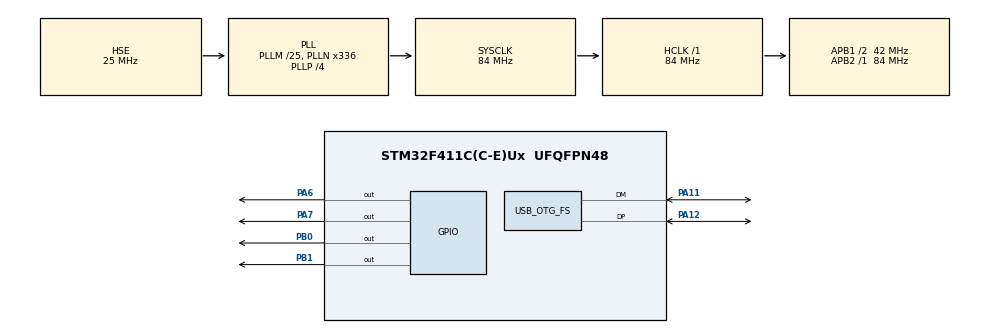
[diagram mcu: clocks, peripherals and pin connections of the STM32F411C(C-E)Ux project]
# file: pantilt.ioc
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Mcu.Family=STM32F4
Mcu.Name=STM32F411C(C-E)Ux
Mcu.Package=UFQFPN48
NVIC.OTG_FS_IRQn=true\:0\:0\:false\:false\:true\:false\:true\:true
NVIC.PriorityGroup=NVIC_PRIORITYGROUP_4
NVIC.TIM3_IRQn=true\:0\:0\:false\:false\:true\:true\:true\:true
PA11.Mode=Device_Only
PA11.Signal=USB_OTG_FS_DM
PA12.Mode=Device_Only
PA12.Signal=USB_OTG_FS_DP
PA6.GPIO_Speed=GPIO_SPEED_FREQ_VERY_HIGH
PA6.Signal=GPIO_Output
PA7.GPIO_Speed=GPIO_SPEED_FREQ_VERY_HIGH
PA7.Signal=GPIO_Output
PB0.GPIO_Speed=GPIO_SPEED_FREQ_VERY_HIGH
PB0.Signal=GPIO_Output
PB1.GPIO_Speed=GPIO_SPEED_FREQ_VERY_HIGH
PB1.Signal=GPIO_Output
PH0\ -\ OSC_IN.Mode=HSE-External-Oscillator
PH0\ -\ OSC_IN.Signal=RCC_OSC_IN
PH1\ -\ OSC_OUT.Mode=HSE-External-Oscillator
PH1\ -\ OSC_OUT.Signal=RCC_OSC_OUT
ProjectManager.HeapSize=0x200
ProjectManager.StackSize=0x400
ProjectManager.TargetToolchain=STM32CubeIDE
RCC.48MHZClocksFreq_Value=48000000
RCC.AHBFreq_Value=84000000
RCC.APB1CLKDivider=RCC_HCLK_DIV2
RCC.APB1Freq_Value=42000000
RCC.APB1TimFreq_Value=84000000
RCC.APB2Freq_Value=84000000
RCC.APB2TimFreq_Value=84000000
RCC.CortexFreq_Value=84000000
RCC.HCLKFreq_Value=84000000
RCC.HSE_VALUE=25000000
RCC.HSI_VALUE=16000000
RCC.LSE_VALUE=32768
RCC.PLLM=25
RCC.PLLN=336
RCC.PLLP=RCC_PLLP_DIV4
RCC.PLLQ=7
RCC.SYSCLKFreq_VALUE=84000000
RCC.SYSCLKSource=RCC_SYSCLKSOURCE_PLLCLK
RCC.VCOOutputFreq_Value=336000000
TIM3.Period=9
TIM3.Prescaler=83
USB_DEVICE.CLASS_NAME_FS=CDC
USB_DEVICE.VirtualMode=Cdc
USB_DEVICE.VirtualModeFS=Cdc_FS
USB_OTG_FS.VirtualMode=Device_Only
VP_TIM3_VS_ClockSourceINT.Mode=Internal
VP_USB_DEVICE_VS_USB_DEVICE_CDC_FS.Mode=CDC_FS
board=custom

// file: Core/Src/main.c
/* USER CODE BEGIN Header */
/**
  ******************************************************************************
  * @file           : main.c
  * @brief          : Stepper pan-tilt controller with Watchdog
  ******************************************************************************
  */
/* USER CODE END Header */

#include "main.h"
#include "usb_device.h"
#include "usbd_cdc_if.h"
#include "iwdg.h"               // <-- Tambahan untuk IWDG

/* USER CODE BEGIN Includes */
#include <string.h>
#include <stdlib.h>
/* USER CODE END Includes */

/* USER CODE BEGIN PD */
#define STEP_FREQ         100000  // TIM3 ISR rate (Hz)
#define MAX_VEL           20000    // Max velocity (steps/s)
#define VEL_UPDATE_TICKS  10      // 100kHz / 10 = 10kHz velocity update
#define DIR_SETUP_TICKS   5       // 10µs ticks to wait after DIR change (50µs)
#define SERIAL_BUF_SIZE   256

/* Watchdog timeout = (4*2^IWDG_PRESCALER / LSI) * IWDG_RELOAD
   LSI ~ 32000 Hz, Prescaler 256 => tick 125 Hz.
   Reload = 62 => timeout ≈ 496 ms */
#define IWDG_TIMEOUT_MS   500
/* USER CODE END PD */

TIM_HandleTypeDef htim3;      // Step generation timebase
IWDG_HandleTypeDef hiwdg;     // Watchdog handler

/* USER CODE BEGIN PV */
// Step generation (ISR context)
volatile uint32_t pan_period   = 0;
volatile uint32_t pan_counter  = 0;
volatile uint32_t tilt_period  = 0;
volatile uint32_t tilt_counter = 0;

// Velocity (current: written by ISR, read by main; requested: written by main, read by ISR)
volatile int32_t req_vel_pan      = 0;
volatile int32_t req_vel_tilt     = 0;
volatile int32_t current_vel_pan  = 0;
volatile int32_t current_vel_tilt = 0;

// Direction invert (written by main, read by ISR)
volatile int8_t pan_dir_invert   = 0;
volatile int8_t tilt_dir_invert  = 1;

// Serial circular buffer
volatile uint8_t  serial_rx_buf[SERIAL_BUF_SIZE];
volatile uint16_t serial_rx_head = 0;
volatile uint16_t serial_rx_tail = 0;

// Command parsing buffer
char    cmd_buffer[64];
uint8_t cmd_idx = 0;
/* USER CODE END PV */

void SystemClock_Config(void);
static void MX_GPIO_Init(void);
static void MX_TIM3_Init(void);
static void MX_IWDG_Init(void);   // <-- Prototipe IWDG
/* USER CODE BEGIN PFP */
void step_isr(void);             // called from TIM3_IRQHandler
void process_command(char *cmd);
void CDC_Receive_Handler(uint8_t* Buf, uint32_t Len);
void process_serial_data(void);
/* USER CODE END PFP */

/* USER CODE BEGIN 0 */

/*
 * Called from TIM3_IRQHandler every 10µs (100kHz).
 * Generates step pulses and directly applies the requested velocity (no ramp).
 *
 * Pin mapping:
 *   PB0 = pan step,  PB1 = pan dir
 *   PA6 = tilt step, PA7 = tilt dir
 */
void step_isr(void) {
    /* ---- Pan step pulse ---- */
    static uint8_t pan_dir_hold = 0;
    if (pan_dir_hold > 0) {
        pan_dir_hold--;
        GPIOB->BSRR = (uint32_t)GPIO_PIN_0 << 16;           // STEP LOW
    } else if (pan_period > 0) {
        if (pan_counter == 0)
            GPIOB->BSRR = GPIO_PIN_0;                        // STEP HIGH
        else if (pan_counter == 1)
            GPIOB->BSRR = (uint32_t)GPIO_PIN_0 << 16;       // STEP LOW
        if (++pan_counter >= pan_period) pan_counter = 0;
    }

    /* ---- Tilt step pulse ---- */
    static uint8_t tilt_dir_hold = 0;
    if (tilt_dir_hold > 0) {
        tilt_dir_hold--;
        GPIOA->BSRR = (uint32_t)GPIO_PIN_6 << 16;           // STEP LOW
    } else if (tilt_period > 0) {
        if (tilt_counter == 0)
            GPIOA->BSRR = GPIO_PIN_6;                        // STEP HIGH
        else if (tilt_counter == 1)
            GPIOA->BSRR = (uint32_t)GPIO_PIN_6 << 16;       // STEP LOW
        if (++tilt_counter >= tilt_period) tilt_counter = 0;
    }

    /* ---- 10kHz velocity update (every 10 ticks) ---- */
    static uint16_t update_tick = 0;
    if (++update_tick < VEL_UPDATE_TICKS) return;
    update_tick = 0;

    /* -- Pan direct velocity apply -- */
    {
        static uint8_t pan_dir_state = 0;
        int32_t next = req_vel_pan;
        if (next > MAX_VEL)  next = MAX_VEL;
        if (next < -MAX_VEL) next = -MAX_VEL;

        if (next != current_vel_pan) {
            current_vel_pan = next;
            if (next == 0) {
                pan_period = 0;
                pan_counter = 0;
                GPIOB->BSRR = (uint32_t)GPIO_PIN_0 << 16;   // step LOW
            } else {
                uint8_t dir = ((next > 0) ^ pan_dir_invert) ? 1U : 0U;
                if (dir)
                    GPIOB->BSRR = GPIO_PIN_1;                // DIR HIGH
                else
                    GPIOB->BSRR = (uint32_t)GPIO_PIN_1 << 16;// DIR LOW
                if (dir != pan_dir_state) {
                    pan_dir_state = dir;
                    GPIOB->BSRR = (uint32_t)GPIO_PIN_0 << 16; // step LOW
                    pan_counter = 0;
                    pan_dir_hold = DIR_SETUP_TICKS;
                }
                uint32_t abs_v = (next > 0) ? (uint32_t)next : (uint32_t)(-next);
                uint32_t p = (STEP_FREQ + (abs_v / 2U)) / abs_v;
                if (p < 2) p = 2;
                pan_period = p;
                if (pan_counter >= p) pan_counter = 0;
            }
        }
    }

    /* -- Tilt direct velocity apply -- */
    {
        static uint8_t tilt_dir_state = 0;
        int32_t next = req_vel_tilt;
        if (next > MAX_VEL)  next = MAX_VEL;
        if (next < -MAX_VEL) next = -MAX_VEL;

        if (next != current_vel_tilt) {
            current_vel_tilt = next;
            if (next == 0) {
                tilt_period = 0;
                tilt_counter = 0;
                GPIOA->BSRR = (uint32_t)GPIO_PIN_6 << 16;   // step LOW
            } else {
                uint8_t dir = ((next > 0) ^ tilt_dir_invert) ? 1U : 0U;
                if (dir)
                    GPIOA->BSRR = GPIO_PIN_7;                // DIR HIGH
                else
                    GPIOA->BSRR = (uint32_t)GPIO_PIN_7 << 16;// DIR LOW
                if (dir != tilt_dir_state) {
                    tilt_dir_state = dir;
                    GPIOA->BSRR = (uint32_t)GPIO_PIN_6 << 16; // step LOW
                    tilt_counter = 0;
                    tilt_dir_hold = DIR_SETUP_TICKS;
                }
                uint32_t abs_v = (next > 0) ? (uint32_t)next : (uint32_t)(-next);
                uint32_t p = (STEP_FREQ + (abs_v / 2U)) / abs_v;
                if (p < 2) p = 2;
                tilt_period = p;
                if (tilt_counter >= p) tilt_counter = 0;
            }
        }
    }
}

static int32_t clamp_vel(int32_t v) {
    if (v > MAX_VEL) return MAX_VEL;
    if (v < -MAX_VEL) return -MAX_VEL;
    return v;
}

static int parse_vel_token(const char *tok, int32_t *out, char *axis_out) {
    const char *p = tok;
    while (*p == ' ' || *p == '\t') p++;
    char axis = 0;
    if (*p == 'P' || *p == 'p' || *p == 'T' || *p == 't') {
        axis = *p;
        p++;
    }
    char *end = NULL;
    long v = strtol(p, &end, 10);
    if (end == p) return 0;
    *out = clamp_vel((int32_t)v);
    *axis_out = axis;
    return 1;
}

/* ---- Command parsing ---- */
void process_command(char *cmd) {
    if (cmd[0] == 'S' || cmd[0] == 's') {
        /* Hard stop: zero everything immediately */
        req_vel_pan  = 0; req_vel_tilt  = 0;
        current_vel_pan = 0; current_vel_tilt = 0;
        pan_period  = 0; tilt_period  = 0;
        GPIOB->BSRR = (uint32_t)GPIO_PIN_0 << 16;  // pan step LOW
        GPIOA->BSRR = (uint32_t)GPIO_PIN_6 << 16;  // tilt step LOW
        return;
    }

    if (strchr(cmd, ',') || cmd[0] == '+' || cmd[0] == '-' || (cmd[0] >= '0' && cmd[0] <= '9')) {
        int32_t pan_val = req_vel_pan;
        int32_t tilt_val = req_vel_tilt;
        uint8_t pan_set = 0;
        uint8_t tilt_set = 0;
        uint8_t next_axis = 0;

        char *tok = cmd;
        while (tok) {
            char *next = strchr(tok, ',');
            if (next) {
                *next = '\0';
                next++;
            }
            int32_t v = 0;
            char axis = 0;
            if (!parse_vel_token(tok, &v, &axis)) {
                return;
            }
            if (axis == 'P' || axis == 'p') {
                pan_val = v;
                pan_set = 1;
            } else if (axis == 'T' || axis == 't') {
                tilt_val = v;
                tilt_set = 1;
            } else {
                if (next_axis == 0) {
                    pan_val = v;
                    pan_set = 1;
                    next_axis = 1;
                } else {
                    tilt_val = v;
                    tilt_set = 1;
                }
            }
            tok = next;
        }

        if (pan_set) req_vel_pan = pan_val;
        if (tilt_set) req_vel_tilt = tilt_val;
        return;
    }

    if (cmd[0] == 'P' || cmd[0] == 'p') {
        if (cmd[1] == '+' || cmd[1] == '-') {
            int32_t vel = atoi(&cmd[2]);
            if (vel < 0) vel = 0;
            if (vel > MAX_VEL) vel = MAX_VEL;
            req_vel_pan = (cmd[1] == '-') ? -vel : vel;
        } else {
            req_vel_pan = 0;
        }
        return;
    }

    if (cmd[0] == 'T' || cmd[0] == 't') {
        if (cmd[1] == '+' || cmd[1] == '-') {
            int32_t vel = atoi(&cmd[2]);
            if (vel < 0) vel = 0;
            if (vel > MAX_VEL) vel = MAX_VEL;
            req_vel_tilt = (cmd[1] == '-') ? -vel : vel;
        } else {
            req_vel_tilt = 0;
        }
        return;
    }
}

/* ---- USB CDC receive handler ---- */
void CDC_Receive_Handler(uint8_t* Buf, uint32_t Len) {
    for (uint32_t i = 0; i < Len; i++) {
        uint16_t next_head = (serial_rx_head + 1) % SERIAL_BUF_SIZE;
        if (next_head != serial_rx_tail) {
            serial_rx_buf[serial_rx_head] = Buf[i];
            serial_rx_head = next_head;
        }
    }
}

/* ---- Process serial data from circular buffer ---- */
void process_serial_data(void) {
    uint8_t new_command = 0;
    while (serial_rx_tail != serial_rx_head) {
        uint8_t c = serial_rx_buf[serial_rx_tail];
        serial_rx_tail = (serial_rx_tail + 1) % SERIAL_BUF_SIZE;

        if (c == '\n' || c == '\r') {
            if (cmd_idx > 0) {
                cmd_buffer[cmd_idx] = '\0';
                process_command(cmd_buffer);
                cmd_idx = 0;
                new_command = 1;  // ada perintah baru, feed watchdog
            }
        } else {
            if (cmd_idx < sizeof(cmd_buffer) - 1) {
                cmd_buffer[cmd_idx++] = c;
            } else {
                cmd_idx = 0;
            }
        }
    }
    // Feed watchdog jika ada perintah baru saja dieksekusi
    if (new_command) {
        HAL_IWDG_Refresh(&hiwdg);
    }
}
/* USER CODE END 0 */

int main(void)
{

  HAL_Init();
  SystemClock_Config();

  MX_GPIO_Init();
  MX_TIM3_Init();
  MX_IWDG_Init();               // Inisialisasi IWDG
  MX_USB_DEVICE_Init();

  /* USER CODE BEGIN 2 */
  HAL_TIM_Base_Start_IT(&htim3);
  /* USER CODE END 2 */

  /* Infinite loop */
  while (1)
  {
    process_serial_data();
    HAL_IWDG_Refresh(&hiwdg);
  }
}

void SystemClock_Config(void)
{
  RCC_OscInitTypeDef RCC_OscInitStruct = {0};
  RCC_ClkInitTypeDef RCC_ClkInitStruct = {0};

  __HAL_RCC_PWR_CLK_ENABLE();
  __HAL_PWR_VOLTAGESCALING_CONFIG(PWR_REGULATOR_VOLTAGE_SCALE1);

  RCC_OscInitStruct.OscillatorType = RCC_OSCILLATORTYPE_HSE;
  RCC_OscInitStruct.HSEState = RCC_HSE_ON;
  RCC_OscInitStruct.PLL.PLLState = RCC_PLL_ON;
  RCC_OscInitStruct.PLL.PLLSource = RCC_PLLSOURCE_HSE;
  RCC_OscInitStruct.PLL.PLLM = 25;
  RCC_OscInitStruct.PLL.PLLN = 336;
  RCC_OscInitStruct.PLL.PLLP = RCC_PLLP_DIV4;
  RCC_OscInitStruct.PLL.PLLQ = 7;
  if (HAL_RCC_OscConfig(&RCC_OscInitStruct) != HAL_OK)
    Error_Handler();

  RCC_ClkInitStruct.ClockType = RCC_CLOCKTYPE_HCLK|RCC_CLOCKTYPE_SYSCLK
                              |RCC_CLOCKTYPE_PCLK1|RCC_CLOCKTYPE_PCLK2;
  RCC_ClkInitStruct.SYSCLKSource = RCC_SYSCLKSOURCE_PLLCLK;
  RCC_ClkInitStruct.AHBCLKDivider = RCC_SYSCLK_DIV1;
  RCC_ClkInitStruct.APB1CLKDivider = RCC_HCLK_DIV2;
  RCC_ClkInitStruct.APB2CLKDivider = RCC_HCLK_DIV1;
  if (HAL_RCC_ClockConfig(&RCC_ClkInitStruct, FLASH_LATENCY_2) != HAL_OK)
    Error_Handler();

  HAL_RCC_EnableCSS();
}

/**
  * @brief TIM3 Initialization (100 kHz timebase for step generation)
  */
static void MX_TIM3_Init(void)
{
  htim3.Instance = TIM3;
  htim3.Init.Prescaler = 84 - 1;           // 84 MHz / 84 = 1 MHz tick
  htim3.Init.CounterMode = TIM_COUNTERMODE_UP;
  htim3.Init.Period = 10 - 1;              // 1 MHz / 10 = 100 kHz interrupt
  htim3.Init.ClockDivision = TIM_CLOCKDIVISION_DIV1;
  htim3.Init.AutoReloadPreload = TIM_AUTORELOAD_PRELOAD_DISABLE;
  if (HAL_TIM_Base_Init(&htim3) != HAL_OK)
    Error_Handler();
}

/**
  * @brief IWDG Initialization (Watchdog ~500 ms)
  */
static void MX_IWDG_Init(void)
{
  hiwdg.Instance = IWDG;
  hiwdg.Init.Prescaler = IWDG_PRESCALER_256;  // LSI / 256 = ~125 Hz
  hiwdg.Init.Reload    = 62;                  // 62 / 125 = 0.496 s ≈ 500 ms
  if (HAL_IWDG_Init(&hiwdg) != HAL_OK)
    Error_Handler();
}

/**
  * @brief GPIO Initialization
  */
static void MX_GPIO_Init(void)
{
  GPIO_InitTypeDef GPIO_InitStruct = {0};

  __HAL_RCC_GPIOH_CLK_ENABLE();
  __HAL_RCC_GPIOA_CLK_ENABLE();
  __HAL_RCC_GPIOB_CLK_ENABLE();

  // All outputs LOW at start
  HAL_GPIO_WritePin(GPIOA, GPIO_PIN_6 | GPIO_PIN_7, GPIO_PIN_RESET);
  HAL_GPIO_WritePin(GPIOB, GPIO_PIN_0 | GPIO_PIN_1, GPIO_PIN_RESET);

  // PA6 (tilt step) + PA7 (tilt direction) — regular GPIO output
  GPIO_InitStruct.Pin = GPIO_PIN_6 | GPIO_PIN_7;
  GPIO_InitStruct.Mode = GPIO_MODE_OUTPUT_PP;
  GPIO_InitStruct.Pull = GPIO_NOPULL;
  GPIO_InitStruct.Speed = GPIO_SPEED_FREQ_VERY_HIGH;
  HAL_GPIO_Init(GPIOA, &GPIO_InitStruct);

  // PB0 (pan step) + PB1 (pan direction) — regular GPIO output
  GPIO_InitStruct.Pin = GPIO_PIN_0 | GPIO_PIN_1;
  GPIO_InitStruct.Mode = GPIO_MODE_OUTPUT_PP;
  GPIO_InitStruct.Pull = GPIO_NOPULL;
  GPIO_InitStruct.Speed = GPIO_SPEED_FREQ_VERY_HIGH;
  HAL_GPIO_Init(GPIOB, &GPIO_InitStruct);
}

void Error_Handler(void)
{
  __disable_irq();
  while (1) {}
}
